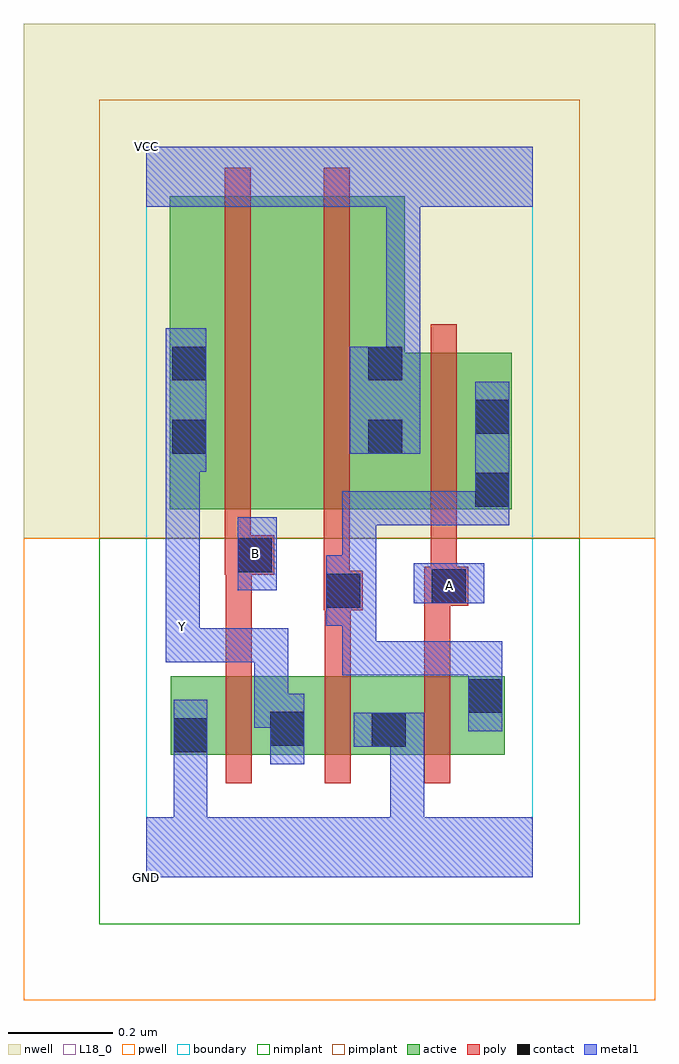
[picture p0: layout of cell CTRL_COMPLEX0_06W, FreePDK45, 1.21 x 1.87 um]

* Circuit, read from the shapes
.subckt CTRL_COMPLEX0_06W A B GND VCC Y
M1 Y B GND VSUBS nfet w=0.15u l=0.05u
M2 GND n1 Y VSUBS nfet w=0.15u l=0.05u
M3 n1 A GND VSUBS nfet w=0.15u l=0.05u
M4 n2 B Y n3 pfet w=0.6u l=0.05u
M5 VCC n1 n2 n3 pfet w=0.6u l=0.05u
M6 n1 A VCC n3 pfet w=0.3u l=0.05u
.ends

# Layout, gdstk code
import gdstk
lib = gdstk.Library(unit=1e-6, precision=1e-09)
def R(c, l, rs):  # rectangles x0, y0, x1, y1
    for r in rs: c.add(gdstk.rectangle(r[:2], r[2:], *l))
def A(c, l, x, y, w, h, nx, ny, dx, dy):  # array of equal rectangles
    R(c, l, [(x+i*dx, y+j*dy, x+i*dx+w, y+j*dy+h) for i in range(nx) for j in range(ny)])
active = (1, 0)
pwell = (2, 0)
nwell = (3, 0)
nimplant = (4, 0)
pimplant = (5, 0)
poly = (9, 0)
contact = (10, 0)
metal1 = (11, 0)
L18_0 = (18, 0)
boundary = (235, 0)

ctrl_complex0_06w = lib.new_cell('CTRL_COMPLEX0_06W')
R(ctrl_complex0_06w, active, [(0.047,0.235,0.122,0.385), (0.047,0.235,0.307,0.385), (0.232,0.235,0.502,0.385), (0.232,0.235,0.307,0.322), (0.427,0.235,0.687,0.385), (0.427,0.235,0.502,0.32), (0.612,0.235,0.687,0.385), (0.045,0.705,0.27,1.305), (0.045,0.705,0.15,1.2), (0.27,0.705,0.495,1.305), (0.42,0.705,0.7,1.005), (0.42,0.705,0.495,1.075), (0.625,0.705,0.7,1.005)])
R(ctrl_complex0_06w, pwell, [(-0.235,-0.235,0.975,0.65)])
R(ctrl_complex0_06w, nwell, [(-0.235,0.65,0.975,1.635)])
R(ctrl_complex0_06w, nimplant, [(-0.09,-0.09,0.83,0.65)])
R(ctrl_complex0_06w, pimplant, [(-0.09,0.65,0.83,1.49)])
A(ctrl_complex0_06w, poly, 0.152, 0.18, 0.05, 0.26, 3, 1, 0.19, 0)
R(ctrl_complex0_06w, poly, [(0.152,0.39,0.202,0.63), (0.342,0.39,0.392,0.562), (0.532,0.39,0.582,0.57), (0.34,0.512,0.415,0.587), (0.532,0.52,0.617,0.595), (0.34,0.537,0.39,0.7), (0.545,0.545,0.595,0.7), (0.15,0.58,0.245,0.655), (0.15,0.605,0.2,0.7), (0.15,0.65,0.2,1.36), (0.34,0.65,0.39,1.36), (0.545,0.65,0.595,1.06)])
R(ctrl_complex0_06w, contact, [(0.052,0.24,0.117,0.305), (0.432,0.25,0.497,0.315), (0.237,0.252,0.302,0.317), (0.617,0.315,0.682,0.38), (0.345,0.517,0.41,0.582), (0.547,0.525,0.612,0.59), (0.175,0.585,0.24,0.65), (0.63,0.71,0.695,0.775), (0.05,0.812,0.115,0.877), (0.425,0.812,0.49,0.877), (0.63,0.85,0.695,0.915), (0.05,0.952,0.115,1.017), (0.425,0.952,0.49,1.017)])
R(ctrl_complex0_06w, metal1, [(0,0,0.74,0.115), (0.052,0.05,0.117,0.115), (0.052,0.05,0.117,0.115), (0.052,0.05,0.117,0.27), (0.467,0.05,0.532,0.115), (0.467,0.05,0.532,0.115), (0.467,0.05,0.532,0.115), (0.467,0.05,0.532,0.115), (0.467,0.05,0.532,0.115), (0.467,0.05,0.532,0.115), (0.467,0.05,0.532,0.315), (0.052,0.205,0.117,0.27), (0.052,0.205,0.117,0.27), (0.052,0.205,0.117,0.27), (0.052,0.205,0.117,0.27), (0.052,0.205,0.117,0.34), (0.237,0.217,0.302,0.352), (0.397,0.25,0.532,0.315), (0.617,0.28,0.682,0.415), (0.207,0.287,0.302,0.352), (0.207,0.287,0.272,0.477), (0.617,0.35,0.682,0.415), (0.617,0.35,0.682,0.452), (0.375,0.387,0.44,0.452), (0.375,0.387,0.682,0.452), (0.375,0.387,0.44,0.547), (0.037,0.412,0.102,0.477), (0.037,0.412,0.102,0.477), (0.037,0.412,0.102,0.547), (0.037,0.412,0.272,0.477), (0.037,0.482,0.102,0.842), (0.345,0.482,0.41,0.617), (0.345,0.482,0.44,0.547), (0.375,0.482,0.44,0.547), (0.375,0.482,0.44,0.74), (0.512,0.525,0.647,0.602), (0.175,0.55,0.25,0.69), (0.375,0.675,0.44,0.74), (0.375,0.675,0.695,0.74), (0.63,0.675,0.695,0.74), (0.63,0.675,0.695,0.74), (0.63,0.675,0.695,0.95), (0.037,0.777,0.115,1.052), (0.39,0.812,0.525,1.017), (0.46,0.952,0.525,1.35), (0,1.285,0.74,1.4)])
R(ctrl_complex0_06w, L18_0, [(0,0,0.74,0.115), (0.052,0.05,0.117,0.115), (0.052,0.05,0.117,0.115), (0.052,0.05,0.117,0.27), (0.467,0.05,0.532,0.115), (0.467,0.05,0.532,0.115), (0.467,0.05,0.532,0.115), (0.467,0.05,0.532,0.115), (0.467,0.05,0.532,0.115), (0.467,0.05,0.532,0.115), (0.467,0.05,0.532,0.315), (0.052,0.205,0.117,0.27), (0.052,0.205,0.117,0.27), (0.052,0.205,0.117,0.27), (0.052,0.205,0.117,0.27), (0.052,0.205,0.117,0.34), (0.237,0.217,0.302,0.352), (0.397,0.25,0.532,0.315), (0.207,0.287,0.272,0.477), (0.207,0.287,0.302,0.352), (0.037,0.412,0.102,0.477), (0.037,0.412,0.102,0.477), (0.037,0.412,0.102,0.547), (0.037,0.412,0.272,0.477), (0.037,0.447,0.102,0.512), (0.037,0.482,0.102,0.842), (0.512,0.525,0.647,0.602), (0.547,0.527,0.612,0.592), (0.175,0.55,0.25,0.69), (0.177,0.587,0.242,0.652), (0.037,0.777,0.115,1.052), (0.39,0.812,0.525,1.017), (0.46,0.952,0.525,1.35), (0,1.285,0.74,1.4)])
R(ctrl_complex0_06w, boundary, [(0,0,0.74,1.4)])
ctrl_complex0_06w.add(gdstk.Label('A', (0.58,0.56), layer=11, texttype=0))
ctrl_complex0_06w.add(gdstk.Label('B', (0.21,0.62), layer=11, texttype=0))
ctrl_complex0_06w.add(gdstk.Label('Y', (0.07,0.48), layer=11, texttype=0))
ctrl_complex0_06w.add(gdstk.Label('VCC', (0,1.4), layer=11, texttype=0))
ctrl_complex0_06w.add(gdstk.Label('GND', (0,0), layer=11, texttype=0))

lib.write_gds('CTRL_COMPLEX0_06W.gds')
